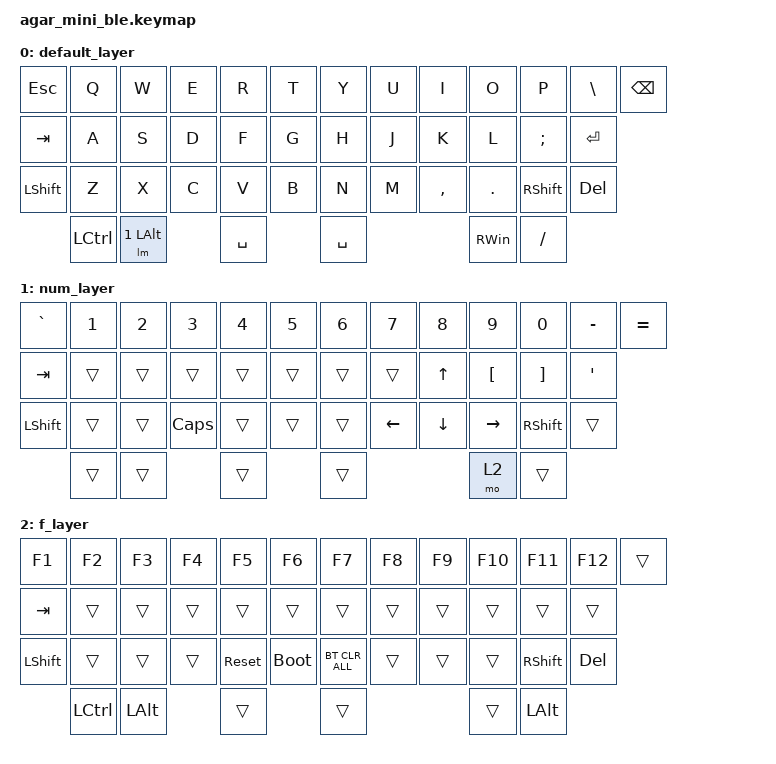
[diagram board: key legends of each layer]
/*
 * Copyright (c) 2021 The ZMK Contributors
 *
 * SPDX-License-Identifier: MIT
 */

#include "./boards/shields/klink_kbd/common.keymap"
#include <behaviors.dtsi>
#include <dt-bindings/zmk/keys.h>
#include <dt-bindings/zmk/pointing.h>
#include <dt-bindings/zmk/behaviors.h>

/ {
    behaviors {
        lt: layer_tap {
            compatible = "zmk,behavior-hold-tap";
            #binding-cells = <2>;
            flavor = "tap-unless-interrupted";
            tapping-term-ms = <1000>;
            bindings = <&mo>, <&kp>;
            display-name = "Layer-Tap";
        };
       
        lm: lm {
            compatible = "zmk,behavior-macro-two-param";
            wait-ms = <0>;
            tap-ms = <0>;
            #binding-cells = <2>;
            bindings
                = <&macro_param_1to1>
                , <&macro_press &mo MACRO_PLACEHOLDER>
                , <&macro_param_2to1>
                , <&macro_press &kp MACRO_PLACEHOLDER>
                , <&macro_pause_for_release>
                , <&macro_param_2to1>
                , <&macro_release &kp MACRO_PLACEHOLDER>
                , <&macro_param_1to1>
                , <&macro_release &mo MACRO_PLACEHOLDER>
                ;
        };
    };
};

/ {
    keymap {
        compatible = "zmk,keymap";

        default_layer {
            bindings = <
&kp ESC    &kp Q      &kp W       &kp E  &kp R      &kp T  &kp Y      &kp U  &kp I      &kp O     &kp P       &kp BACKSLASH  &kp BSPC
&kp TAB    &kp A      &kp S       &kp D  &kp F      &kp G  &kp H      &kp J  &kp K      &kp L     &kp SEMI    &kp ENTER
&kp LSHFT  &kp Z      &kp X       &kp C  &kp V      &kp B  &kp N      &kp M  &kp COMMA  &kp DOT   &kp RSHIFT  &kp DEL
           &kp LCTRL  &lm 1 LALT         &kp SPACE         &kp SPACE                    &kp RWIN  &kp SLASH

            >;
        };

        num_layer {
            bindings = <
&kp GRAVE  &kp N1  &kp N2  &kp N3    &kp N4  &kp N5  &kp N6  &kp N7    &kp N8    &kp N9     &kp N0      &kp MINUS  &kp EQUAL
&kp TAB    &trans  &trans  &trans    &trans  &trans  &trans  &trans    &kp UP    &kp LBKT   &kp RBKT    &kp SQT
&kp LSHFT  &trans  &trans  &kp CAPS  &trans  &trans  &trans  &kp LEFT  &kp DOWN  &kp RIGHT  &kp RSHIFT  &trans
           &trans  &trans            &trans          &trans                      &mo 2      &trans

            >;
        };

        f_layer {
            bindings = <
&kp F1     &kp F2     &kp F3    &kp F4  &kp F5      &kp F6       &kp F7          &kp F8  &kp F9  &kp F10   &kp F11     &kp F12  &trans
&kp TAB    &trans     &trans    &trans  &trans      &trans       &trans          &trans  &trans  &trans    &trans      &trans
&kp LSHFT  &trans     &trans    &trans  &sys_reset  &bootloader  &bt BT_CLR_ALL  &trans  &trans  &trans    &kp RSHIFT  &kp DEL
           &kp LCTRL  &kp LALT          &trans                   &trans                  &trans  &kp LALT

            >;
        };
    };
};
